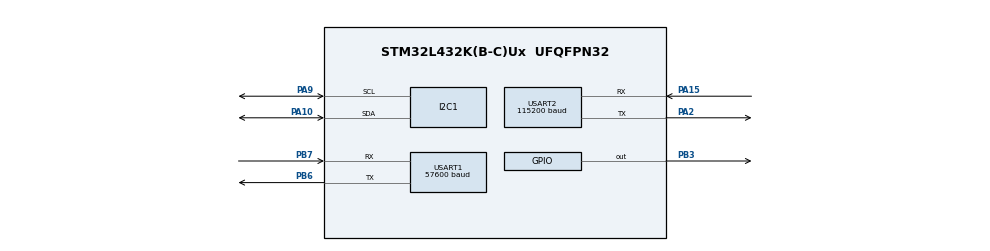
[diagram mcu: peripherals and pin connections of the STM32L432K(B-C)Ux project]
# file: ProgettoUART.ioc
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I2C1.Timing=0x00100D14
Mcu.Family=STM32L4
Mcu.Name=STM32L432K(B-C)Ux
Mcu.Package=UFQFPN32
NVIC.PriorityGroup=NVIC_PRIORITYGROUP_4
NVIC.TIM6_DAC_IRQn=true\:0\:0\:false\:false\:true\:true\:true\:true
NVIC.USART1_IRQn=true\:0\:0\:false\:false\:true\:true\:true\:true
NVIC.USART2_IRQn=true\:0\:0\:false\:false\:true\:true\:true\:true
PA10.GPIO_Pu=GPIO_PULLUP
PA10.Mode=I2C
PA10.Signal=I2C1_SDA
PA15\ (JTDI).Mode=Asynchronous
PA15\ (JTDI).Signal=USART2_RX
PA2.Mode=Asynchronous
PA2.Signal=USART2_TX
PA9.GPIO_Pu=GPIO_PULLUP
PA9.Mode=I2C
PA9.Signal=I2C1_SCL
PB3\ (JTDO-TRACESWO).Signal=GPIO_Output
PB6.Mode=Asynchronous
PB6.Signal=USART1_TX
PB7.Mode=Asynchronous
PB7.Signal=USART1_RX
ProjectManager.HeapSize=0x200
ProjectManager.StackSize=0x400
ProjectManager.TargetToolchain=STM32CubeIDE
RCC.ADCFreq_Value=32000000
RCC.HSE_VALUE=8000000
RCC.HSI48_VALUE=48000000
RCC.HSI_VALUE=16000000
RCC.LSE_VALUE=32768
RCC.MSI_VALUE=4000000
RCC.PLLSAI1N=16
RCC.USBFreq_Value=32000000
RCC.VCOOutputFreq_Value=32000000
TIM6.Period=1999
TIM6.Prescaler=39
USART1.BaudRate=57600
USART1.VirtualMode-Asynchronous=VM_ASYNC
USART2.BaudRate=115200
USART2.VirtualMode-Asynchronous=VM_ASYNC
VP_TIM6_VS_ClockSourceINT.Mode=Enable_Timer
board=custom

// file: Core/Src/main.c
/* USER CODE BEGIN Header */
/**
  ******************************************************************************
  * @file           : main.c
  * @brief          : Main program body
  ******************************************************************************
  * @attention
  *
  * Copyright (c) 2026 STMicroelectronics.
  * All rights reserved.
  *
  * This software is licensed under terms that can be found in the LICENSE file
  * in the root directory of this software component.
  * If no LICENSE file comes with this software, it is provided AS-IS.
  *
  ******************************************************************************
  */
/* USER CODE END Header */
#include "main.h"

/* USER CODE BEGIN Includes */
#include "string.h"

/* USER CODE END Includes */

I2C_HandleTypeDef hi2c1;

TIM_HandleTypeDef htim6;

UART_HandleTypeDef huart1;
UART_HandleTypeDef huart2;

/* USER CODE BEGIN PV */
uint8_t rxData1;
uint8_t rxData2;
uint8_t rx_buff[32];
uint8_t rx_back[32];
int i;
int cmd_received;
int numero_conversioni;
uint8_t flag_conversione;
int track_conversioni;
uint8_t flag_rumore;
/* USER CODE END PV */

void SystemClock_Config(void);
static void MX_GPIO_Init(void);
static void MX_USART2_UART_Init(void);
static void MX_USART1_UART_Init(void);
static void MX_I2C1_Init(void);
static void MX_TIM6_Init(void);

/* USER CODE BEGIN 0 */
void leggi_pressione(){
						HAL_GPIO_WritePin(GPIOB, GPIO_PIN_3, GPIO_PIN_SET);
		                uint8_t cmd = 0xF1; // Comando di Trigger Measurement per SDP610
		                uint8_t data[3];
		                char out_buf[64];

		                // Invia comando all'indirizzo 0x40 (in HAL è shiftato a sinistra: 0x80)
		                if (HAL_I2C_Master_Transmit(&hi2c1, 0x80, &cmd, 1, 100) == HAL_OK) {

		                    HAL_Delay(9); // L'SDP610 richiede fino a ~45ms per effettuare la misurazione

		                    // Leggi 2 byte di dati + 1 byte di CRC
		                    if (HAL_I2C_Master_Receive(&hi2c1, 0x80, data, 3, 100) == HAL_OK) {
		                        int16_t ticks = (data[0] << 8) | data[1];
		                        float pressure = (float)ticks / 60.0f; // Scale factor = 60 per SDP610-500Pa
		                        if (pressure > 0.3){
		                        	flag_rumore = 0;
		                        }

		                        sprintf(out_buf, "P %.2f Pa %d ms\r\n", pressure,(track_conversioni-numero_conversioni)*20);
		                        HAL_UART_Transmit(&huart1, (uint8_t*)out_buf, strlen(out_buf), 100);
		                    } else {
		                        HAL_UART_Transmit(&huart1, (uint8_t*)"I2C Rx Error\r\n", 14, 100);
		                    }
		                } else {
		                    HAL_UART_Transmit(&huart1, (uint8_t*)"Sensore non trovato\r\n", 21, 100);
		                }
		                if (numero_conversioni == 0){
		                	sprintf(out_buf,"END\r\n");
		                	HAL_UART_Transmit(&huart1, (uint8_t*)out_buf, strlen(out_buf), 100);
		                }

}

/* USER CODE END 0 */

int main(void)
{

  /* USER CODE BEGIN 1 */
	i=0;
	flag_conversione = 0;
	track_conversioni = 0;

  /* USER CODE END 1 */

  /* MCU Configuration--------------------------------------------------------*/

  /* Reset of all peripherals, Initializes the Flash interface and the Systick. */
  HAL_Init();

  /* Configure the system clock */
  SystemClock_Config();

  /* Initialize all configured peripherals */
  MX_GPIO_Init();
  MX_USART2_UART_Init();
  MX_USART1_UART_Init();
  MX_I2C1_Init();
  MX_TIM6_Init();
  /* USER CODE BEGIN 2 */
  HAL_TIM_Base_Start_IT(&htim6);
  HAL_UART_Receive_IT(&huart1, &rxData1, 1);
  	  HAL_UART_Receive_IT(&huart2, &rxData2, 1);
  	  cmd_received=0;
  	  numero_conversioni = 0;

  /* USER CODE END 2 */

  /* Infinite loop */
  /* USER CODE BEGIN WHILE */
  while (1)
  {
	  if (cmd_received) {

	            // Seleziona il comportamento in base al comando "READ"
	            if (strncmp((char*)rx_buff, "READ", 4) == 0) {
                sscanf((char*)rx_buff, "READ %d", &numero_conversioni);
                track_conversioni = numero_conversioni;

	            }

	            // Resetta il buffer e la flag per il prossimo comando
	            memset(rx_buff, 0, 32);
	            i = 0;
	            cmd_received = 0;
	            HAL_GPIO_WritePin(GPIOB, GPIO_PIN_3, GPIO_PIN_RESET);
	        }
	  if(flag_conversione == 1){
		  leggi_pressione();
		  flag_conversione = 0;
	  }
    /* USER CODE END WHILE */

  }
}

void SystemClock_Config(void)
{
  RCC_OscInitTypeDef RCC_OscInitStruct = {0};
  RCC_ClkInitTypeDef RCC_ClkInitStruct = {0};

  /** Configure the main internal regulator output voltage
  */
  if (HAL_PWREx_ControlVoltageScaling(PWR_REGULATOR_VOLTAGE_SCALE1) != HAL_OK)
  {
    Error_Handler();
  }

  /** Initializes the RCC Oscillators according to the specified parameters
  * in the RCC_OscInitTypeDef structure.
  */
  RCC_OscInitStruct.OscillatorType = RCC_OSCILLATORTYPE_MSI;
  RCC_OscInitStruct.MSIState = RCC_MSI_ON;
  RCC_OscInitStruct.MSICalibrationValue = 0;
  RCC_OscInitStruct.MSIClockRange = RCC_MSIRANGE_6;
  RCC_OscInitStruct.PLL.PLLState = RCC_PLL_NONE;
  if (HAL_RCC_OscConfig(&RCC_OscInitStruct) != HAL_OK)
  {
    Error_Handler();
  }

  /** Initializes the CPU, AHB and APB buses clocks
  */
  RCC_ClkInitStruct.ClockType = RCC_CLOCKTYPE_HCLK|RCC_CLOCKTYPE_SYSCLK
                              |RCC_CLOCKTYPE_PCLK1|RCC_CLOCKTYPE_PCLK2;
  RCC_ClkInitStruct.SYSCLKSource = RCC_SYSCLKSOURCE_MSI;
  RCC_ClkInitStruct.AHBCLKDivider = RCC_SYSCLK_DIV1;
  RCC_ClkInitStruct.APB1CLKDivider = RCC_HCLK_DIV1;
  RCC_ClkInitStruct.APB2CLKDivider = RCC_HCLK_DIV1;

  if (HAL_RCC_ClockConfig(&RCC_ClkInitStruct, FLASH_LATENCY_0) != HAL_OK)
  {
    Error_Handler();
  }
}

static void MX_I2C1_Init(void)
{

  hi2c1.Instance = I2C1;
  hi2c1.Init.Timing = 0x00100D14;
  hi2c1.Init.OwnAddress1 = 0;
  hi2c1.Init.AddressingMode = I2C_ADDRESSINGMODE_7BIT;
  hi2c1.Init.DualAddressMode = I2C_DUALADDRESS_DISABLE;
  hi2c1.Init.OwnAddress2 = 0;
  hi2c1.Init.OwnAddress2Masks = I2C_OA2_NOMASK;
  hi2c1.Init.GeneralCallMode = I2C_GENERALCALL_DISABLE;
  hi2c1.Init.NoStretchMode = I2C_NOSTRETCH_DISABLE;
  if (HAL_I2C_Init(&hi2c1) != HAL_OK)
  {
    Error_Handler();
  }

  /** Configure Analogue filter
  */
  if (HAL_I2CEx_ConfigAnalogFilter(&hi2c1, I2C_ANALOGFILTER_ENABLE) != HAL_OK)
  {
    Error_Handler();
  }

  /** Configure Digital filter
  */
  if (HAL_I2CEx_ConfigDigitalFilter(&hi2c1, 0) != HAL_OK)
  {
    Error_Handler();
  }

}

static void MX_TIM6_Init(void)
{

  TIM_MasterConfigTypeDef sMasterConfig = {0};

  htim6.Instance = TIM6;
  htim6.Init.Prescaler = 39;
  htim6.Init.CounterMode = TIM_COUNTERMODE_UP;
  htim6.Init.Period = 1999;
  htim6.Init.AutoReloadPreload = TIM_AUTORELOAD_PRELOAD_DISABLE;
  if (HAL_TIM_Base_Init(&htim6) != HAL_OK)
  {
    Error_Handler();
  }
  sMasterConfig.MasterOutputTrigger = TIM_TRGO_RESET;
  sMasterConfig.MasterSlaveMode = TIM_MASTERSLAVEMODE_DISABLE;
  if (HAL_TIMEx_MasterConfigSynchronization(&htim6, &sMasterConfig) != HAL_OK)
  {
    Error_Handler();
  }

}

static void MX_USART1_UART_Init(void)
{

  huart1.Instance = USART1;
  huart1.Init.BaudRate = 57600;
  huart1.Init.WordLength = UART_WORDLENGTH_8B;
  huart1.Init.StopBits = UART_STOPBITS_1;
  huart1.Init.Parity = UART_PARITY_NONE;
  huart1.Init.Mode = UART_MODE_TX_RX;
  huart1.Init.HwFlowCtl = UART_HWCONTROL_NONE;
  huart1.Init.OverSampling = UART_OVERSAMPLING_16;
  huart1.Init.OneBitSampling = UART_ONE_BIT_SAMPLE_DISABLE;
  huart1.AdvancedInit.AdvFeatureInit = UART_ADVFEATURE_NO_INIT;
  if (HAL_UART_Init(&huart1) != HAL_OK)
  {
    Error_Handler();
  }

}

static void MX_USART2_UART_Init(void)
{

  huart2.Instance = USART2;
  huart2.Init.BaudRate = 115200;
  huart2.Init.WordLength = UART_WORDLENGTH_8B;
  huart2.Init.StopBits = UART_STOPBITS_1;
  huart2.Init.Parity = UART_PARITY_NONE;
  huart2.Init.Mode = UART_MODE_TX_RX;
  huart2.Init.HwFlowCtl = UART_HWCONTROL_NONE;
  huart2.Init.OverSampling = UART_OVERSAMPLING_16;
  huart2.Init.OneBitSampling = UART_ONE_BIT_SAMPLE_DISABLE;
  huart2.AdvancedInit.AdvFeatureInit = UART_ADVFEATURE_NO_INIT;
  if (HAL_UART_Init(&huart2) != HAL_OK)
  {
    Error_Handler();
  }

}

static void MX_GPIO_Init(void)
{
  GPIO_InitTypeDef GPIO_InitStruct = {0};

  /* GPIO Ports Clock Enable */
  __HAL_RCC_GPIOA_CLK_ENABLE();
  __HAL_RCC_GPIOB_CLK_ENABLE();

  /*Configure GPIO pin Output Level */
  HAL_GPIO_WritePin(GPIOB, GPIO_PIN_3, GPIO_PIN_RESET);

  /*Configure GPIO pin : PB3 */
  GPIO_InitStruct.Pin = GPIO_PIN_3;
  GPIO_InitStruct.Mode = GPIO_MODE_OUTPUT_PP;
  GPIO_InitStruct.Pull = GPIO_NOPULL;
  GPIO_InitStruct.Speed = GPIO_SPEED_FREQ_LOW;
  HAL_GPIO_Init(GPIOB, &GPIO_InitStruct);

}

/* USER CODE BEGIN 4 */
void HAL_UART_RxCpltCallback(UART_HandleTypeDef *huart) {
    if (huart->Instance == USART1) {
        // Usa IT per trasmettere senza bloccare la CPU
        HAL_UART_Transmit_IT(&huart2, &rxData1, 1);
        rx_buff[i]=rxData1;
        rx_back[i]=rxData1;
        i++;
        if (rxData1=='\n'){
        	while(i<32){
        		rx_buff[i]='\0';
        		rx_back[i]='\0';
        		i++;

        	}
        	HAL_UART_Transmit_IT(&huart1,rx_back,strlen(rx_back));
        	cmd_received=1;
        	i=0;
        }

        HAL_UART_Receive_IT(&huart1, &rxData1, 1);
    }
    else if (huart->Instance == USART2) {
        HAL_UART_Transmit_IT(&huart1, &rxData2, 1);
        HAL_UART_Transmit_IT(&huart2, &rxData2, 1);

        HAL_UART_Receive_IT(&huart2, &rxData2, 1);
    }
}

// AGGIUNGI QUESTA FUNZIONE PER SBLOCCARE LA UART
void HAL_UART_ErrorCallback(UART_HandleTypeDef *huart) {
    if (huart->ErrorCode & HAL_UART_ERROR_ORE) {
        // Forza la ripartenza della ricezione se c'è un errore di Overrun
        if (huart->Instance == USART1) HAL_UART_Receive_IT(&huart1, &rxData1, 1);
        if (huart->Instance == USART2) HAL_UART_Receive_IT(&huart2, &rxData2, 1);
    }
}

void HAL_TIM_PeriodElapsedCallback(TIM_HandleTypeDef *htim)

{

    if(htim->Instance == TIM6)

    {
    	if(numero_conversioni > 0){
    		if (numero_conversioni == track_conversioni){
    			char output_buff[16];
                sprintf(output_buff,"STARTED\r\n");
                HAL_UART_Transmit(&huart1, (uint8_t*)output_buff, strlen(output_buff), 100);
    		}
    		if(flag_rumore==0){
    		numero_conversioni = numero_conversioni -1;}
    		flag_conversione = 1;
    	}

    }

}
/* USER CODE END 4 */

void Error_Handler(void)
{
  __disable_irq();
  while (1)
  {
  }
}
